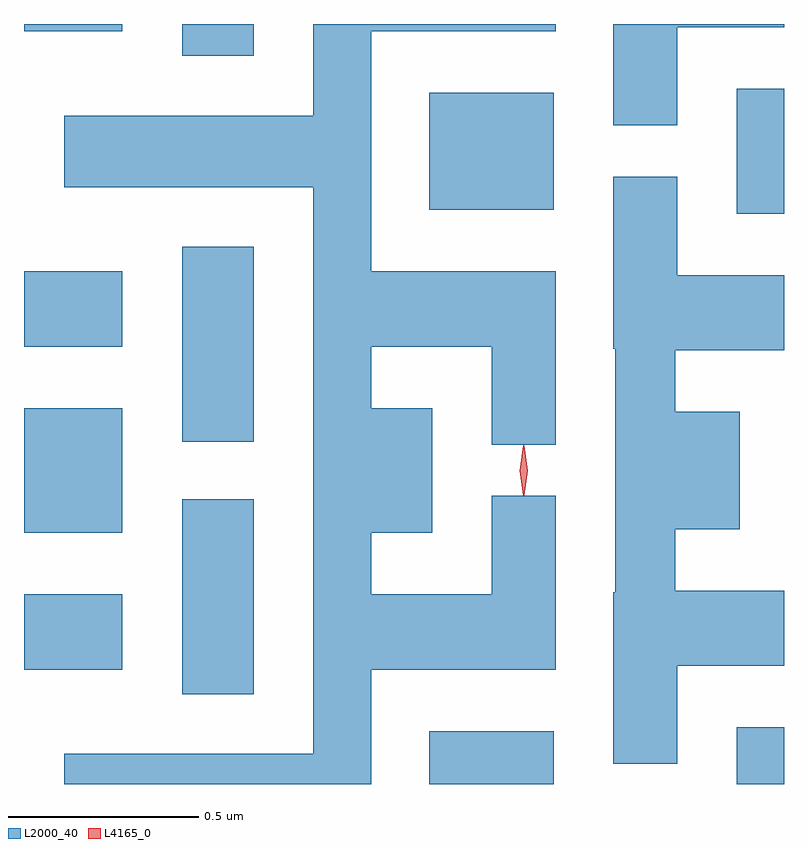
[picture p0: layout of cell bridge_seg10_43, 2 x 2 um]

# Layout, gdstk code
import gdstk
lib = gdstk.Library(unit=1e-6, precision=1e-09)
def R(c, l, rs):  # rectangles x0, y0, x1, y1
    for r in rs: c.add(gdstk.rectangle(r[:2], r[2:], *l))
def P(c, l, *ps):  # polygons
    for p in ps: c.add(gdstk.Polygon(p, *l))
L2000_40 = (2000, 40)
L4165_0 = (4165, 0)

bridge_seg10_43 = lib.new_cell('bridge_seg10_43')
R(bridge_seg10_43, L2000_40, [(1749.886,2171.705,1750.214,2171.844), (1750.696,2171.705,1750.82,2171.854), (1749.236,2171.941,1749.424,2172.454), (1748.82,2172.006,1749.079,2172.204), (1748.82,2172.366,1749.079,2172.694), (1749.236,2172.606,1749.424,2173.119), (1748.82,2172.856,1749.079,2173.054), (1750.696,2173.206,1750.82,2173.534), (1749.886,2173.216,1750.214,2173.524), (1749.236,2173.621,1749.424,2173.705), (1748.82,2173.686,1749.079,2173.705)])
P(bridge_seg10_43, L2000_40, [(1749.734,2172.006),(1750.219,2172.006),(1750.219,2172.463),(1750.051,2172.463),(1750.051,2172.204),(1749.734,2172.204),(1749.734,2172.366),(1749.894,2172.366),(1749.894,2172.694),(1749.734,2172.694),(1749.734,2172.856),(1750.051,2172.856),(1750.051,2172.598),(1750.219,2172.598),(1750.219,2173.054),(1749.734,2173.054),(1749.734,2173.686),(1750.219,2173.686),(1750.219,2173.705),(1749.581,2173.705),(1749.581,2173.464),(1748.926,2173.464),(1748.926,2173.276),(1749.581,2173.276),(1749.581,2171.784),(1748.926,2171.784),(1748.926,2171.705),(1749.734,2171.705)],
  [(1750.539,2173.696),(1750.82,2173.696),(1750.82,2173.705),(1750.371,2173.705),(1750.371,2173.438),(1750.539,2173.438)],
  [(1750.539,2172.016),(1750.82,2172.016),(1750.82,2172.214),(1750.534,2172.214),(1750.534,2172.376),(1750.704,2172.376),(1750.704,2172.684),(1750.534,2172.684),(1750.534,2172.846),(1750.82,2172.846),(1750.82,2173.044),(1750.539,2173.044),(1750.539,2173.303),(1750.371,2173.303),(1750.371,2172.85),(1750.376,2172.85),(1750.376,2172.21),(1750.371,2172.21),(1750.371,2171.758),(1750.539,2171.758)])
P(bridge_seg10_43, L4165_0, [(1750.135,2172.464),(1750.134,2172.465),(1750.125,2172.53),(1750.134,2172.595),(1750.135,2172.596),(1750.136,2172.595),(1750.145,2172.53),(1750.136,2172.465)])

lib.write_gds('bridge_seg10_43.gds')
